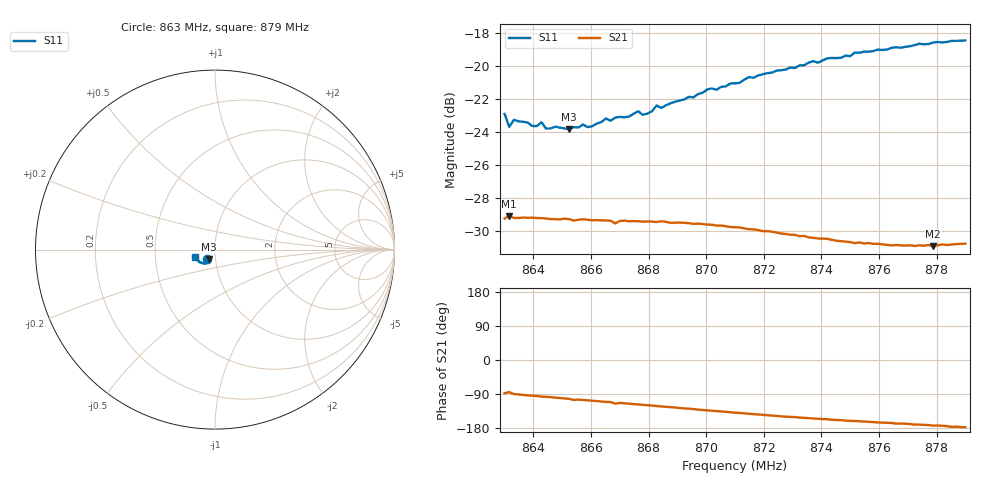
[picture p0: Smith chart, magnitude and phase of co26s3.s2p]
# HZ S RI R 50
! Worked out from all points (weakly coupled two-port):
!   101 points, 863 MHz to 879 MHz, reference 50 ohm
!   highest |S21| = -29.07 dB at 863.16 MHz (marker M1); lowest = -30.9 dB at 877.88 MHz (marker M2)
!   lowest |S11| = -23.8 dB at 865.24 MHz (marker M3), VSWR 1.14, Z = 46.4 - j5.06 ohm
!   |S11| at or under -10 dB: start of sweep to end of sweep
!   S12 and S22 are empty: the file has one direction only
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8.63e8  -0.0467 -0.0541  0.00148 -0.0345  0 0  0 0
8.6316e8  -0.0383 -0.0529  0.00323 -0.035  0 0  0 0
8.6332e8  -0.0425 -0.0539  0.000124 -0.0347  0 0  0 0
8.6396e8  -0.0396 -0.0524  -0.00253 -0.0347  0 0  0 0
8.6428e8  -0.0384 -0.0555  -0.004 -0.0344  0 0  0 0
8.6444e8  -0.0372 -0.0528  -0.00437 -0.0343  0 0  0 0
8.6524e8  -0.0345 -0.0543  -0.00737 -0.0336  0 0  0 0
8.6572e8  -0.035 -0.0565  -0.0092 -0.0331  0 0  0 0
8.6604e8  -0.0327 -0.0569  -0.0102 -0.0326  0 0  0 0
8.6652e8  -0.0334 -0.0607  -0.012 -0.0319  0 0  0 0
8.6732e8  -0.0329 -0.062  -0.0144 -0.0307  0 0  0 0
8.6764e8  -0.0346 -0.0641  -0.0156 -0.0301  0 0  0 0
8.678e8  -0.0334 -0.0626  -0.016 -0.0297  0 0  0 0
8.6812e8  -0.0336 -0.0646  -0.017 -0.0292  0 0  0 0
8.6828e8  -0.0347 -0.0675  -0.0176 -0.0288  0 0  0 0
8.6844e8  -0.0352 -0.0657  -0.0183 -0.0285  0 0  0 0
8.7004e8  -0.0421 -0.0736  -0.0225 -0.0243  0 0  0 0
8.71e8  -0.0467 -0.0751  -0.0245 -0.0214  0 0  0 0
8.7372e8  -0.069 -0.0767  -0.0272 -0.013  0 0  0 0
8.7644e8  -0.0939 -0.0634  -0.0278 -0.00683  0 0  0 0
8.7788e8  -0.106 -0.0505  -0.0283 -0.00341  0 0  0 0
8.79e8  -0.1127 -0.0386  -0.029 -0.00121  0 0  0 0
